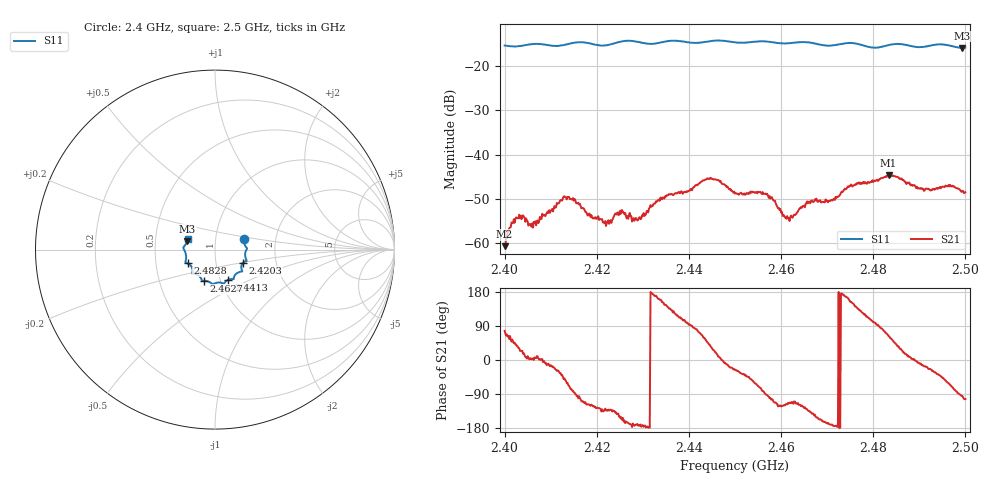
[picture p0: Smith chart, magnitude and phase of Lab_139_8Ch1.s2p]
# Hz S RI R 50
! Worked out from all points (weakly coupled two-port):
!   601 points, 2.4 GHz to 2.5 GHz, reference 50 ohm
!   highest |S21| = -44.69 dB at 2.4833 GHz (marker M1); lowest = -60.7 dB at 2.4 GHz (marker M2)
!   lowest |S11| = -15.8 dB at 2.4993 GHz (marker M3), VSWR 1.38, Z = 36.5 + j3.6 ohm
!   |S11| at or under -10 dB: start of sweep to end of sweep
!   S12 and S22 are empty: the file has one direction only
!   S11 on the Smith chart (normalised r, x): 2.4 GHz: 1.37, +0.17; 2.4203 GHz: 1.35, -0.20; 2.4413 GHz: 1.09, -0.38; 2.4627 GHz: 0.83, -0.30; 2.4828 GHz: 0.73, -0.12; 2.5 GHz: 0.73, +0.09
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2.4e9  0.1615 0.0585  0.000208 0.000895  0 0  0 0
2.401167e9  0.1621 0.0457  0.000672 0.00133  0 0  0 0
2.403e9  0.1665 0.0261  0.00161 0.00101  0 0  0 0
2.406333e9  0.1785 0.00828  0.00173 6.06e-06  0 0  0 0
2.413333e9  0.17 -0.0449  0.00183 -0.00273  0 0  0 0
2.416667e9  0.1764 -0.0622  -0.000777 -0.00234  0 0  0 0
2.420333e9  0.1563 -0.0732  -0.0012 -0.0016  0 0  0 0
2.4225e9  0.147 -0.093  -0.00118 -0.00136  0 0  0 0
2.4255e9  0.1509 -0.1176  -0.00217 -0.000893  0 0  0 0
2.429167e9  0.141 -0.1233  -0.00192 -0.000287  0 0  0 0
2.433333e9  0.1077 -0.1479  -0.0029 0.000973  0 0  0 0
2.441333e9  0.0751 -0.1675  0.000583 0.00443  0 0  0 0
2.445167e9  0.0514 -0.1871  0.00468 0.00247  0 0  0 0
2.45e9  0.0303 -0.1839  0.00326 -0.00157  0 0  0 0
2.4565e9  -0.0145 -0.1906  0.000111 -0.00359  0 0  0 0
2.460833e9  -0.0459 -0.1752  -0.000965 -0.00169  0 0  0 0
2.462667e9  -0.0616 -0.1738  -0.000869 -0.00183  0 0  0 0
2.466667e9  -0.0744 -0.1682  -0.00237 -0.00189  0 0  0 0
2.482833e9  -0.1527 -0.0768  0.00194 0.0054  0 0  0 0
2.483333e9  -0.1565 -0.0749  0.00263 0.0052  0 0  0 0
2.499333e9  -0.1541 0.0481  -0.000332 -0.00385  0 0  0 0
2.5e9  -0.1519 0.0572  -0.000854 -0.00365  0 0  0 0
